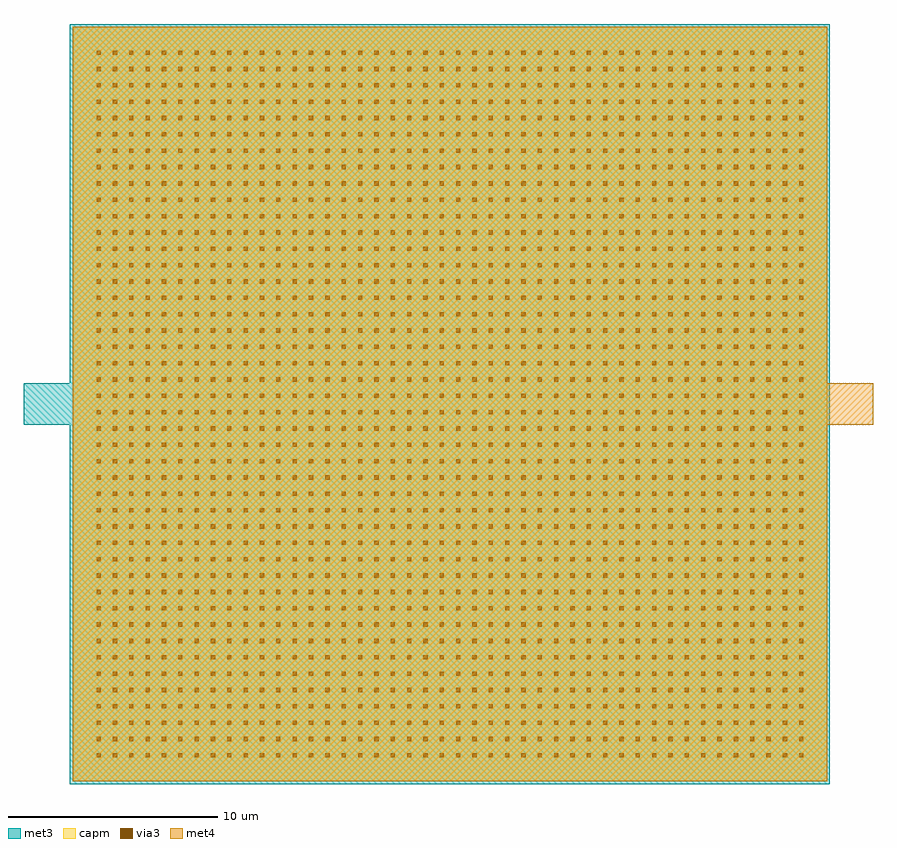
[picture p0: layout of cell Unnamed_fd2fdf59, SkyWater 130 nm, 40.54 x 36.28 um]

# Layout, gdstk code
import gdstk
lib = gdstk.Library(unit=1e-6, precision=5e-09)
def R(c, l, rs):  # rectangles x0, y0, x1, y1
    for r in rs: c.add(gdstk.rectangle(r[:2], r[2:], *l))
def A(c, l, x, y, w, h, nx, ny, dx, dy):  # array of equal rectangles
    R(c, l, [(x+i*dx, y+j*dy, x+i*dx+w, y+j*dy+h) for i in range(nx) for j in range(ny)])
met3 = (70, 20)
via3 = (70, 44)
met4 = (71, 20)
capm = (89, 44)

unnamed_fd2fdf59 = lib.new_cell('Unnamed_fd2fdf59')
R(unnamed_fd2fdf59, met3, [(-18.14,-18.14,18.14,18.14), (-20.34,-1,-18.14,1)])
A(unnamed_fd2fdf59, via3, -16.87, -16.87, 0.2, 0.2, 44, 44, 0.78, 0.78)
A(unnamed_fd2fdf59, met4, -16.94, -16.94, 0.34, 0.34, 44, 44, 0.78, 0.78)
R(unnamed_fd2fdf59, met4, [(-18,-18,18,18), (18,-1,20.2,1)])
R(unnamed_fd2fdf59, capm, [(-18,-18,18,18)])

lib.write_gds('Unnamed_fd2fdf59.gds')
